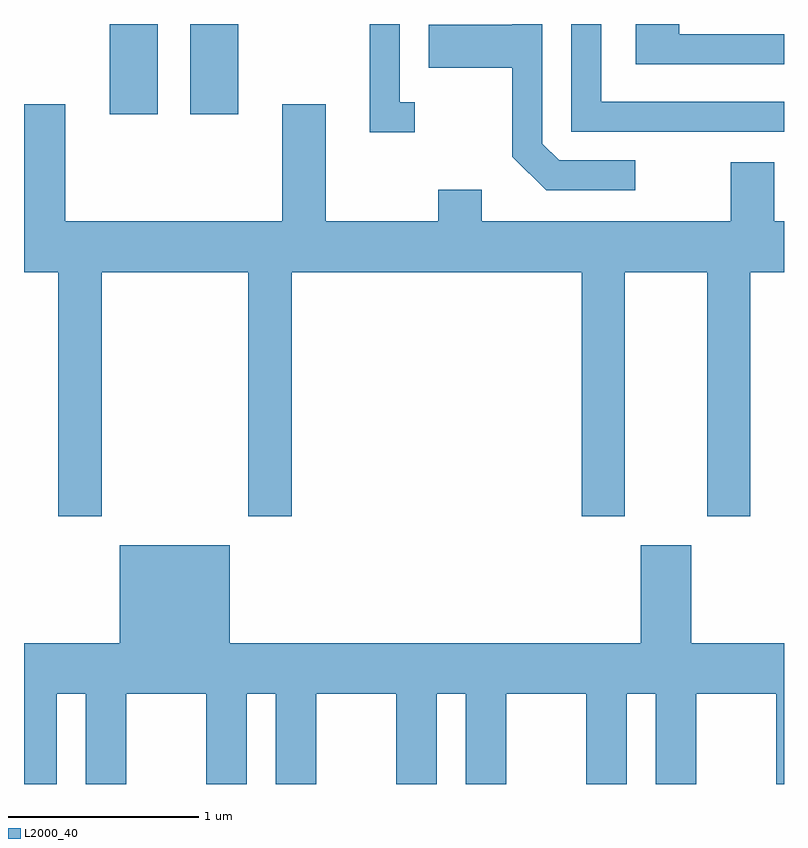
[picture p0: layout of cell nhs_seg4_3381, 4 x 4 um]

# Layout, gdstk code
import gdstk
lib = gdstk.Library(unit=1e-6, precision=1e-09)
def R(c, l, rs):  # rectangles x0, y0, x1, y1
    for r in rs: c.add(gdstk.rectangle(r[:2], r[2:], *l))
def P(c, l, *ps):  # polygons
    for p in ps: c.add(gdstk.Polygon(p, *l))
L2000_40 = (2000, 40)

nhs_seg4_3381 = lib.new_cell('nhs_seg4_3381')
R(nhs_seg4_3381, L2000_40, [(284.061,1355.506,284.314,1355.982), (284.486,1355.506,284.739,1355.982)])
P(nhs_seg4_3381, L2000_40, [(287.611,1355.574),(286.649,1355.574),(286.649,1355.982),(286.491,1355.982),(286.491,1355.416),(287.611,1355.416)],
  [(285.668,1355.569),(285.589,1355.569),(285.589,1355.982),(285.431,1355.982),(285.431,1355.411),(285.668,1355.411)],
  [(287.611,1355.929),(287.059,1355.929),(287.059,1355.982),(286.831,1355.982),(286.831,1355.771),(287.611,1355.771)],
  [(286.828,1355.264),(286.427,1355.264),(286.339,1355.352),(286.339,1355.982),(286.181,1355.982),(286.181,1355.979),(285.741,1355.979),(285.741,1355.751),(286.181,1355.751),(286.181,1355.284),(286.359,1355.106),(286.828,1355.106)],
  [(284.019,1354.676),(284.791,1354.676),(284.791,1353.391),(285.019,1353.391),(285.019,1354.676),(286.546,1354.676),(286.546,1353.391),(286.774,1353.391),(286.774,1354.676),(287.206,1354.676),(287.206,1353.391),(287.434,1353.391),(287.434,1354.676),(287.611,1354.676),(287.611,1354.944),(287.559,1354.944),(287.559,1355.254),(287.331,1355.254),(287.331,1354.944),(286.019,1354.944),(286.019,1355.109),(285.791,1355.109),(285.791,1354.944),(285.199,1354.944),(285.199,1355.559),(284.971,1355.559),(284.971,1354.944),(283.829,1354.944),(283.829,1355.559),(283.611,1355.559),(283.611,1354.676),(283.791,1354.676),(283.791,1353.391),(284.019,1353.391)],
  [(283.784,1352.456),(283.936,1352.456),(283.936,1351.982),(284.149,1351.982),(284.149,1352.456),(284.571,1352.456),(284.571,1351.982),(284.784,1351.982),(284.784,1352.456),(284.936,1352.456),(284.936,1351.982),(285.149,1351.982),(285.149,1352.456),(285.571,1352.456),(285.571,1351.982),(285.784,1351.982),(285.784,1352.456),(285.936,1352.456),(285.936,1351.982),(286.149,1351.982),(286.149,1352.456),(286.571,1352.456),(286.571,1351.982),(286.784,1351.982),(286.784,1352.456),(286.936,1352.456),(286.936,1351.982),(287.149,1351.982),(287.149,1352.456),(287.571,1352.456),(287.571,1351.982),(287.611,1351.982),(287.611,1352.724),(287.124,1352.724),(287.124,1353.239),(286.856,1353.239),(286.856,1352.724),(284.694,1352.724),(284.694,1353.239),(284.116,1353.239),(284.116,1352.724),(283.611,1352.724),(283.611,1351.982),(283.784,1351.982)])

lib.write_gds('nhs_seg4_3381.gds')
